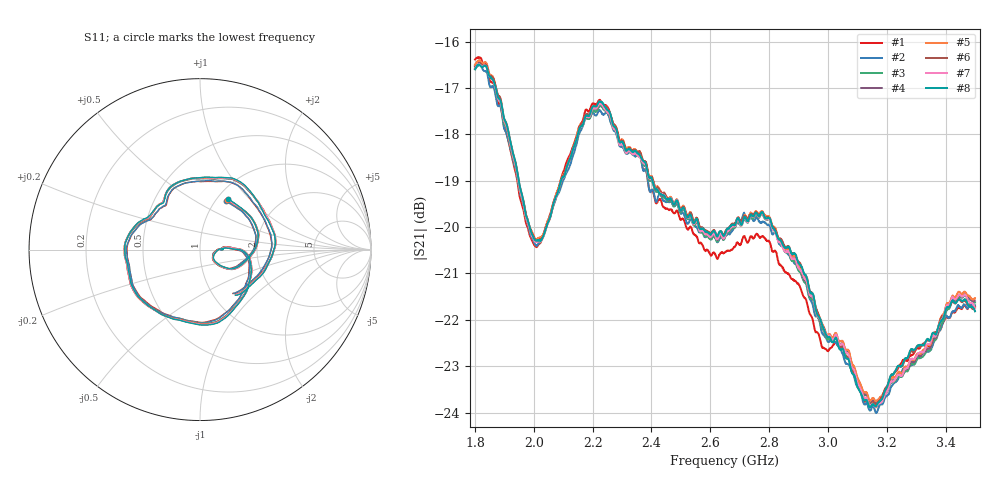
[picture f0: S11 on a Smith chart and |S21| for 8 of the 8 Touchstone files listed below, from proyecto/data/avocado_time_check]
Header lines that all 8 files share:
! Created with skrf 1.9.0 (http://scikit-rf.org).
# Hz S RI R 50.0
!freq ReS11 ImS11 ReS21 ImS21 ReS12 ImS12 ReS22 ImS22
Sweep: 1.8 GHz to 3.5 GHz
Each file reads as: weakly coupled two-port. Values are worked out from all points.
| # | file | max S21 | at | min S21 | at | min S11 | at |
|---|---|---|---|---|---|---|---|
| 1 | A08_D01_B2_O240_corrected.s2p | -16.34 dB | 1.816 GHz | -23.9 dB | 3.145 GHz | -22.0 dB | 2.093 GHz |
| 2 | A08_D03_B2_O240_corrected.s2p | -16.48 dB | 1.818 GHz | -24.0 dB | 3.165 GHz | -21.9 dB | 2.09 GHz |
| 3 | A08_D05_B2_O000_corrected.s2p | -16.44 dB | 1.811 GHz | -23.8 dB | 3.162 GHz | -21.6 dB | 2.091 GHz |
| 4 | A08_D06_B2_O000_corrected.s2p | -16.44 dB | 1.811 GHz | -23.8 dB | 3.164 GHz | -21.5 dB | 2.09 GHz |
| 5 | A08_D07_B2_O000_corrected.s2p | -16.40 dB | 1.816 GHz | -23.8 dB | 3.163 GHz | -21.5 dB | 2.09 GHz |
| 6 | A08_D07_B2_O240_corrected.s2p | -16.47 dB | 1.816 GHz | -23.8 dB | 3.143 GHz | -21.2 dB | 2.089 GHz |
| 7 | A08_D08_B2_O000_corrected.s2p | -16.48 dB | 1.811 GHz | -23.9 dB | 3.162 GHz | -21.4 dB | 2.09 GHz |
| 8 | A08_D08_B2_O120_corrected.s2p | -16.50 dB | 1.812 GHz | -23.9 dB | 3.143 GHz | -21.2 dB | 2.089 GHz |
